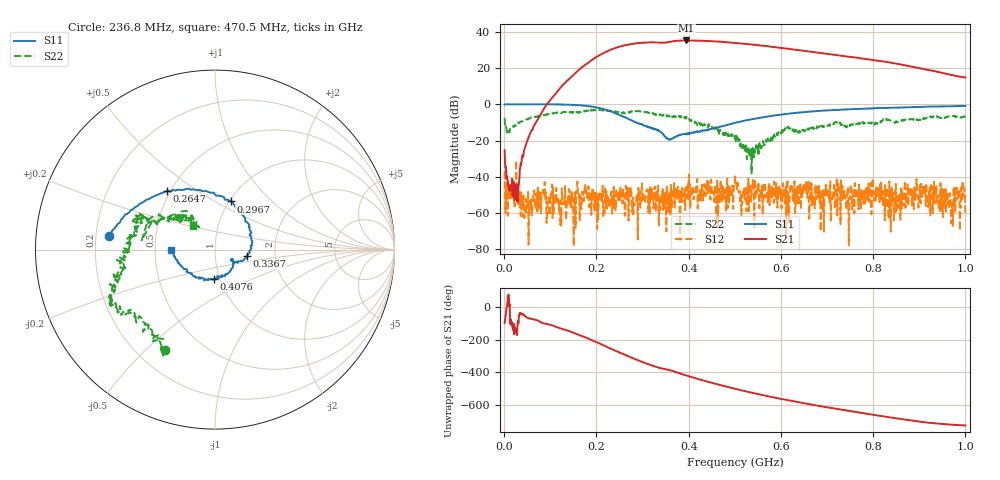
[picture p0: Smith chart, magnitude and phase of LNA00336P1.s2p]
! Created with skrf 1.9.0 (http://scikit-rf.org).
# Hz S RI R 50.0
!freq ReS11 ImS11 ReS21 ImS21 ReS12 ImS12 ReS22 ImS22
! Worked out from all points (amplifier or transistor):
!   1001 points, 1 MHz to 1 GHz, reference 50 ohm
!   highest |S21| = 35.2 dB at 394.6 MHz (marker M1)
!   |S21| within 3 dB of that: 256.5 MHz to 563.3 MHz (306.8 MHz wide, 74.8 % of centre)
!   unconditionally stable (mu >= 1): 4.406 MHz to 72.68 MHz; 219.3 MHz to 237.7 MHz; 237.9 MHz to end of sweep (the widest 3 of 33)
!   at 166.8 MHz: K = 2.49, MAG = 31.8 dB, |S12| = -57.2 dB
!   at 500.5 MHz: K = 1.09, MAG = 34.6 dB, |S12| = -39.0 dB
!   at 1 GHz: K = 17.46, MAG = 22.8 dB, |S12| = -61.7 dB
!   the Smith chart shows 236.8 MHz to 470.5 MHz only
!   S11 on the Smith chart (normalised r, x): 236.8 MHz: 0.25, +0.06; 264.7 MHz: 0.48, +0.38; 296.7 MHz: 1.02, +0.59; 336.7 MHz: 1.43, -0.11; 407.6 MHz: 0.94, -0.31; 470.5 MHz: 0.61, -0.00
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1000000  0.9802 0.00112  -0.00738 -0.0534  -0.0138 -0.00358  0.2548 0.3298
1.08892e8  0.5146 -0.8506  -0.8171 -1.582  0.00124 0.00167  0.4403 -0.3595
1.67833e8  -0.2479 -0.892  -10.26 -0.5807  0.000502 -0.0012  0.0716 -0.6196
2.07793e8  -0.667 -0.397  -16.2 16.3  0.000713 0.00193  -0.171 -0.68
2.36764e8  -0.5919 0.0739  -4.323 33.89  -0.00137 -0.000143  -0.2766 -0.5609
2.64736e8  -0.2702 0.3265  20.05 38.1  -0.00153 0.00355  -0.4299 -0.3937
2.96704e8  0.0865 0.2684  44.29 21.21  0.00209 0.00118  -0.578 -0.2462
3.16684e8  0.1917 0.1311  50.76 3.865  -0.00555 0.00165  -0.5653 -0.1377
3.34666e8  0.1861 -0.0248  49.05 -11.08  -0.00121 0.000449  -0.5294 -0.0783
3.36664e8  0.1774 -0.0366  48.63 -12.45  -0.00255 0.000431  -0.53 -0.0443
3.68632e8  0.1032 -0.0681  44.48 -32.75  0.000284 0.00668  -0.4555 0.1381
3.94606e8  0.0559 -0.1463  28.21 -50.13  -0.00262 0.00454  -0.4075 0.1899
4.07593e8  -0.00699 -0.1622  17.94 -54.2  0.00274 0.00188  -0.3122 0.1607
4.37563e8  -0.1417 -0.1285  -6.296 -55.45  0.00389 0.00106  -0.1805 0.1875
4.7053e8  -0.2437 -0.00088  -27.41 -45.17  0.00263 0.00122  -0.1207 0.1328
5.005e8  -0.2591 0.1638  -39.35 -29.91  0.00996 -0.00526  -0.0919 0.0638
5.4046e8  -0.1773 0.3543  -43.06 -8.179  0.00279 0.00221  -0.0582 0.00225
5.88412e8  0.0346 0.4932  -35.45 12.02  0.00112 -0.00339  -0.1135 -0.0934
6.67333e8  0.4061 0.4835  -13.33 24.21  -0.00148 -0.000454  -0.2212 -0.0666
7.53247e8  0.6755 0.2746  3.975 19.58  -0.00446 -0.00117  -0.2788 -0.0131
8.34166e8  0.7966 0.0147  10.6 9.624  0.000647 0.000278  -0.3703 -0.0261
1e9  0.7298 -0.5219  5.378 -0.8124  0.000818 -0.000112  -0.342 0.2972
